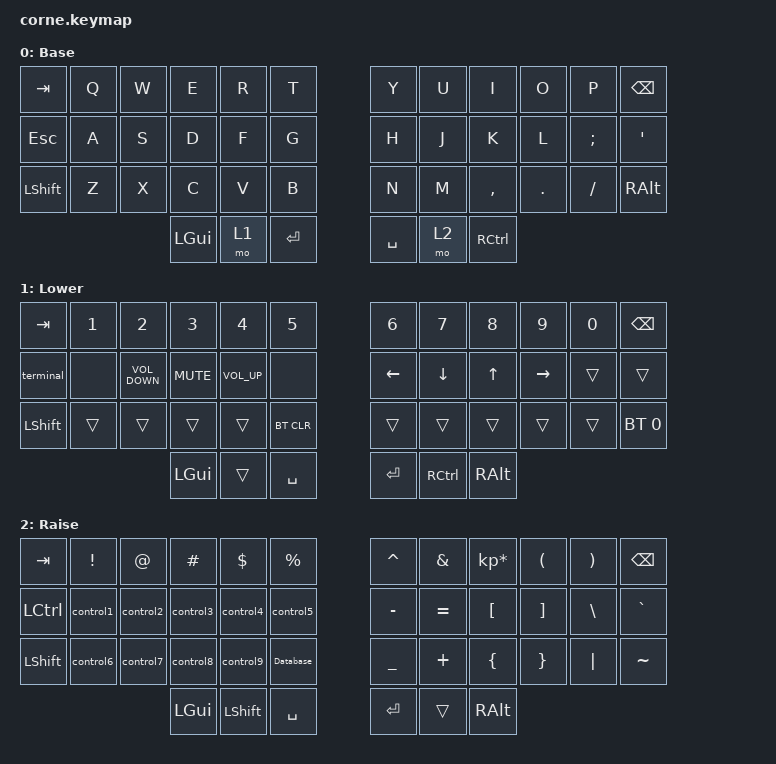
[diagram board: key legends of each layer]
/*
 * Copyright (c) 2020 The ZMK Contributors
 *
 * SPDX-License-Identifier: MIT
 */

#include <behaviors.dtsi>
#include <dt-bindings/zmk/bt.h>
#include <dt-bindings/zmk/keys.h>

/ {
    macros {
        control1: control1 {
            compatible = "zmk,behavior-macro";
            #binding-cells = <0>;
            bindings =
                <&macro_press>,
                <&kp LEFT_ALT>,
                <&macro_tap>,
                <&kp NUMBER_1>,
                <&macro_release>,
                <&kp LEFT_ALT>;

            label = "CONTROL1";
        };

        control2: control2 {
            compatible = "zmk,behavior-macro";
            #binding-cells = <0>;
            bindings =
                <&macro_press>,
                <&kp LEFT_ALT>,
                <&macro_tap>,
                <&kp NUMBER_2>,
                <&macro_release>,
                <&kp LEFT_ALT>;

            label = "CONTROL2";
        };

        control3: control3 {
            compatible = "zmk,behavior-macro";
            #binding-cells = <0>;
            bindings =
                <&macro_press>,
                <&kp LEFT_ALT>,
                <&macro_tap>,
                <&kp NUMBER_3>,
                <&macro_release>,
                <&kp LEFT_ALT>;

            label = "CONTROL3";
        };

        control4: control4 {
            compatible = "zmk,behavior-macro";
            #binding-cells = <0>;
            bindings =
                <&macro_press>,
                <&kp LEFT_ALT>,
                <&macro_tap>,
                <&kp NUMBER_4>,
                <&macro_release>,
                <&kp LEFT_ALT>;

            label = "CONTROL4";
        };

        control5: control5 {
            compatible = "zmk,behavior-macro";
            #binding-cells = <0>;
            bindings =
                <&macro_press>,
                <&kp LEFT_ALT>,
                <&macro_tap>,
                <&kp N5>,
                <&macro_release>,
                <&kp LEFT_ALT>;

            label = "CONTROL5";
        };

        control6: control6 {
            compatible = "zmk,behavior-macro";
            #binding-cells = <0>;
            bindings =
                <&macro_press>,
                <&kp LEFT_ALT>,
                <&macro_tap>,
                <&kp NUMBER_6>,
                <&macro_release>,
                <&kp LEFT_ALT>;

            label = "CONTROL6";
        };

        control7: control7 {
            compatible = "zmk,behavior-macro";
            #binding-cells = <0>;
            bindings =
                <&macro_press>,
                <&kp LEFT_ALT>,
                <&macro_tap>,
                <&kp N7>,
                <&macro_release>,
                <&kp LEFT_ALT>;

            label = "CONTROL7";
        };

        control8: control8 {
            compatible = "zmk,behavior-macro";
            #binding-cells = <0>;
            bindings =
                <&macro_press>,
                <&kp LEFT_ALT>,
                <&macro_tap>,
                <&kp N8>,
                <&macro_release>,
                <&kp LEFT_ALT>;

            label = "CONTROL8";
        };

        control9: control9 {
            compatible = "zmk,behavior-macro";
            #binding-cells = <0>;
            bindings =
                <&macro_press>,
                <&kp LEFT_ALT>,
                <&macro_tap>,
                <&kp N9>,
                <&macro_release>,
                <&kp LEFT_ALT>;

            label = "CONTROL9";
        };

        CtrlLeft: CtrlLeft {
            compatible = "zmk,behavior-macro";
            #binding-cells = <0>;
            bindings =
                <&macro_press>,
                <&kp LEFT_CONTROL>,
                <&macro_tap>,
                <&kp LEFT_ARROW>,
                <&macro_release>,
                <&kp LEFT_CONTROL>;

            label = "CTRLLEFT";
        };

        CtrlRight: CtrlRight {
            compatible = "zmk,behavior-macro";
            #binding-cells = <0>;
            bindings =
                <&macro_press>,
                <&kp LEFT_CONTROL>,
                <&macro_tap>,
                <&kp RIGHT_ARROW>,
                <&macro_release>,
                <&kp LCTRL>;

            label = "CTRLRIGHT";
        };

        terminal: terminal {
            compatible = "zmk,behavior-macro";
            #binding-cells = <0>;
            bindings =
                <&macro_press>,
                <&kp LEFT_COMMAND>,
                <&macro_tap>,
                <&kp GRAVE>,
                <&macro_release>,
                <&kp LEFT_COMMAND>;

            label = "TERMINAL";
        };

        Database: Database {
            compatible = "zmk,behavior-macro";
            #binding-cells = <0>;
            bindings =
                <&macro_press>,
                <&kp LEFT_ALT>,
                <&macro_tap>,
                <&kp D>,
                <&macro_release>,
                <&kp LEFT_ALT>;

            label = "DATABASE";
        };
    };

    combos {
        compatible = "zmk,combos";

        QuickTerminal {
            bindings = <&terminal>;
            key-positions = <17 18>;
        };

        copy {
            bindings = <&kp RG(C)>;
            key-positions = <27 28>;
        };

        paste {
            bindings = <&kp LG(V)>;
            key-positions = <28 29>;
        };

        Alt {
            bindings = <&kp LEFT_ALT>;
            key-positions = <2 3>;
        };

        Shift {
            bindings = <&kp LEFT_SHIFT>;
            key-positions = <37 40>;
        };

        escape {
            bindings = <&kp ESCAPE>;
            key-positions = <19 20>;
        };
    };

    keymap {
        compatible = "zmk,keymap";

        default_layer {
            // -----------------------------------------------------------------------------------------
            // |  TAB |  Q  |  W  |  E  |  R  |  T  |   |  Y  |  U   |  I  |  O  |  P  | BKSP |
            // | CTRL |  A  |  S  |  D  |  F  |  G  |   |  H  |  J   |  K  |  L  |  ;  |  '   |
            // | SHFT |  Z  |  X  |  C  |  V  |  B  |   |  N  |  M   |  ,  |  .  |  /  | ESC  |
            //                    | GUI | LWR | SPC |   | ENT | RSE  | ALT |

            label = "Base";
            bindings = <
&kp TAB    &kp Q  &kp W  &kp E     &kp R  &kp T        &kp Y      &kp U  &kp I              &kp O    &kp P     &kp BSPC
&kp ESC    &kp A  &kp S  &kp D     &kp F  &kp G        &kp H      &kp J  &kp K              &kp L    &kp SEMI  &kp SQT
&kp LSHFT  &kp Z  &kp X  &kp C     &kp V  &kp B        &kp N      &kp M  &kp COMMA          &kp DOT  &kp FSLH  &kp RIGHT_ALT
                         &kp LGUI  &mo 1  &kp ENTER    &kp SPACE  &mo 2  &kp RIGHT_CONTROL
            >;
        };

        lower_layer {
            // -----------------------------------------------------------------------------------------
            // |  TAB |  1  |  2  |  3  |  4  |  5  |   |  6  |  7  |  8  |  9  |  0  | BKSP |
            // | BTCLR| BT1 | BT2 | BT3 | BT4 | BT5 |   | LFT | DWN |  UP | RGT |     |      |
            // | SHFT |     |     |     |     |     |   |     |     |     |     |     |      |
            //                    | GUI |     | SPC |   | ENT |     | ALT |

            label = "Lower";
            bindings = <
&kp TAB    &kp N1  &kp N2             &kp N3      &kp N4           &kp N5        &kp N6    &kp N7             &kp N8    &kp N9     &kp N0  &kp BSPC
&terminal  &none   &kp K_VOLUME_DOWN  &kp K_MUTE  &kp K_VOLUME_UP  &none         &kp LEFT  &kp DOWN           &kp UP    &kp RIGHT  &trans  &trans
&kp LSHFT  &trans  &trans             &trans      &trans           &bt BT_CLR    &trans    &trans             &trans    &trans     &trans  &bt BT_SEL 0
                                      &kp LGUI    &trans           &kp SPACE     &kp RET   &kp RIGHT_CONTROL  &kp RALT
            >;
        };

        raise_layer {
            // -----------------------------------------------------------------------------------------
            // |  TAB |  !  |  @  |  #  |  $  |  %  |   |  ^  |  &  |  *  |  (  |  )  | BKSP |
            // | CTRL |     |     |     |     |     |   |  -  |  =  |  [  |  ]  |  \  |  `   |
            // | SHFT |     |     |     |     |     |   |  _  |  +  |  {  |  }  | "|" |  ~   |
            //                    | GUI |     | SPC |   | ENT |     | ALT |

            label = "Raise";
            bindings = <
&kp TAB    &kp EXCL   &kp AT     &kp HASH   &kp DLLR        &kp PRCNT    &kp CARET  &kp AMPS   &kp KP_MULTIPLY  &kp LPAR  &kp RPAR  &kp BSPC
&kp LCTRL  &control1  &control2  &control3  &control4       &control5    &kp MINUS  &kp EQUAL  &kp LBKT         &kp RBKT  &kp BSLH  &kp GRAVE
&kp LSHFT  &control6  &control7  &control8  &control9       &Database    &kp UNDER  &kp PLUS   &kp LBRC         &kp RBRC  &kp PIPE  &kp TILDE
                                 &kp LGUI   &kp LEFT_SHIFT  &kp SPACE    &kp RET    &trans     &kp RALT
            >;
        };
    };
};
